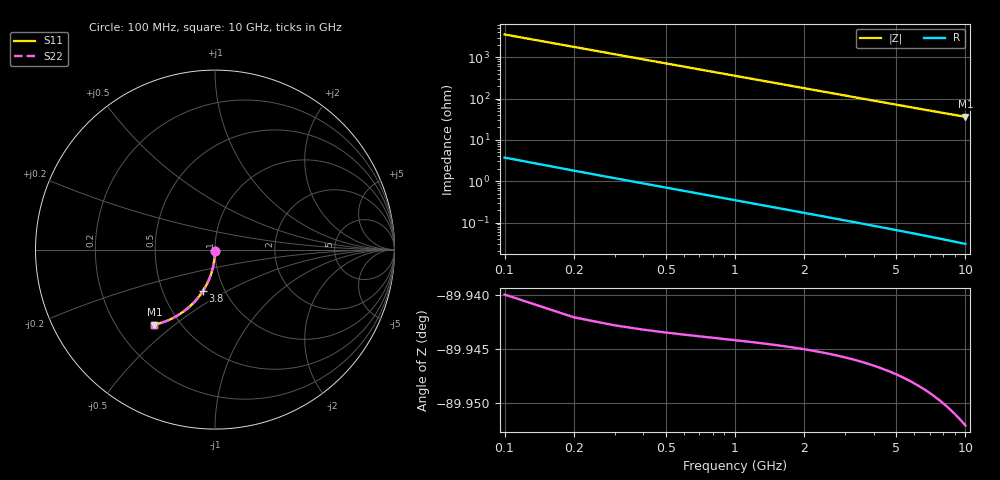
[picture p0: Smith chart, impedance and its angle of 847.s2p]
# Hz S RI R 50.00
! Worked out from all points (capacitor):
!   100 points, 100 MHz to 10 GHz, reference 50 ohm
!   read as one part in shunt: C = 447 fF near 100 MHz
!   lowest |Z| = 36.2 ohm at 10 GHz (marker M1)
!   S11 on the Smith chart (normalised r, x): 100 MHz: 1.00, -0.01; 3.8 GHz: 0.79, -0.39; 10 GHz: 0.36, -0.43
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1e8  0.000151 -0.00648  0.9997 -0.00756  0.9997 -0.00756  0.000151 -0.00648
2e8  -1.23e-06 -0.013  0.9996 -0.0151  0.9996 -0.0151  -1.23e-06 -0.013
3e8  -0.000252 -0.0194  0.9993 -0.0227  0.9993 -0.0227  -0.000252 -0.0194
4e8  -0.000601 -0.0259  0.999 -0.0302  0.999 -0.0302  -0.000601 -0.0259
5e8  -0.00105 -0.0323  0.9985 -0.0378  0.9985 -0.0378  -0.00105 -0.0323
6e8  -0.00159 -0.0388  0.998 -0.0453  0.998 -0.0453  -0.00159 -0.0388
7e8  -0.00223 -0.0452  0.9973 -0.0528  0.9973 -0.0528  -0.00223 -0.0452
8e8  -0.00297 -0.0516  0.9966 -0.0604  0.9966 -0.0604  -0.00297 -0.0516
9e8  -0.0038 -0.0581  0.9957 -0.0679  0.9957 -0.0679  -0.0038 -0.0581
1.1e9  -0.00576 -0.0708  0.9937 -0.0828  0.9937 -0.0828  -0.00576 -0.0708
1.4e9  -0.00941 -0.0898  0.99 -0.105  0.99 -0.105  -0.00941 -0.0898
1.8e9  -0.0156 -0.1147  0.9838 -0.1343  0.9838 -0.1343  -0.0156 -0.1147
2.1e9  -0.0211 -0.1331  0.9782 -0.1559  0.9782 -0.1559  -0.0211 -0.1331
2.5e9  -0.0298 -0.157  0.9694 -0.1842  0.9694 -0.1842  -0.0298 -0.157
2.9e9  -0.0397 -0.1801  0.9593 -0.2118  0.9593 -0.2118  -0.0397 -0.1801
3.4e9  -0.0539 -0.2079  0.9449 -0.2451  0.9449 -0.2451  -0.0539 -0.2079
3.8e9  -0.0666 -0.2292  0.9321 -0.2707  0.9321 -0.2707  -0.0666 -0.2292
4.4e9  -0.0875 -0.2591  0.9109 -0.3073  0.9109 -0.3073  -0.0875 -0.2591
5.1e9  -0.1144 -0.2911  0.8836 -0.3469  0.8836 -0.3469  -0.1144 -0.2911
6.7e9  -0.1833 -0.3509  0.8135 -0.4246  0.8135 -0.4246  -0.1833 -0.3509
8.4e9  -0.2624 -0.3943  0.7328 -0.4872  0.7328 -0.4872  -0.2624 -0.3943
1e10  -0.3371 -0.4178  0.6562 -0.5289  0.6562 -0.5289  -0.3371 -0.4178
